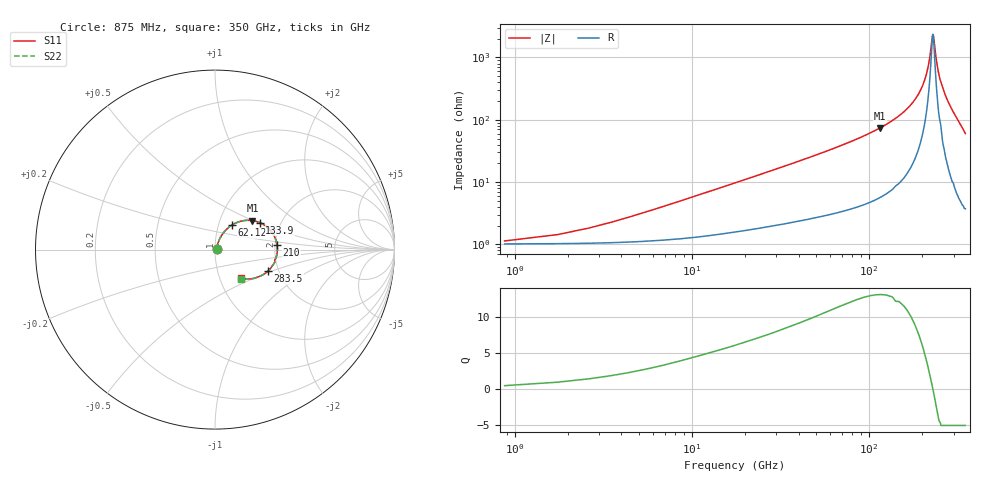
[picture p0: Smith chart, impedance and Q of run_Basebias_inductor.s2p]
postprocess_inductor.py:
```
#!/usr/bin/env python3

import argparse
from pathlib import Path

import numpy as np
import pandas as pd
import matplotlib.pyplot as plt
import skrf as rf

plt.style.use(Path(__file__).parent / "../python_postprocessing/own.mplstyle")


def dB(x):
    return 20 * np.log10(np.abs(x))


def main():

    parser = argparse.ArgumentParser(
        description="Postprocess a Touchstone .s2p file of an inductor."
    )

    parser.add_argument(
        "s2p",
        nargs="?",
        # default="/Users/matthi/IHP-PDK/sscs-ose-code-a-chip.github.io/ISSCC27/submitted_notebooks/end_to_end_openRF/ISSCS_60_GHz_MPA_prj/openEMS/output/run_VCC_snake_v6_data/run_VCC_snake_v6.s2p",
        default="/Users/matthi/IHP-PDK/sscs-ose-code-a-chip.github.io/ISSCC27/submitted_notebooks/end_to_end_openRF/ISSCS_60_GHz_MPA_prj/openEMS/output/run_Basebias_inductor_data/run_Basebias_inductor.s2p",
        help="Input Touchstone file (.s2p)"
    )

    parser.add_argument(
        "--target",
        type=float,
        default=60.0,
        help="Target frequency in GHz"
    )

    args = parser.parse_args()

    s2p_path = Path(args.s2p)

    if not s2p_path.exists():
        raise FileNotFoundError(s2p_path)

    print(f"Reading {s2p_path}")

    network = rf.Network(str(s2p_path))

    f = network.f
    s = network.s

    s11 = s[:, 0, 0]
    s21 = s[:, 1, 0]
    s12 = s[:, 0, 1]
    s22 = s[:, 1, 1]

    print(dB(s11[0]))

    # Convert S -> Z
    z = network.z

    z11 = z[:, 0, 0]
    z12 = z[:, 0, 1]
    z21 = z[:, 1, 0]
    z22 = z[:, 1, 1]

    omega = 2 * np.pi * f

    with np.errstate(divide="ignore", invalid="ignore"):
        zdiff = z11 - z12 - z21 + z22

        Ldiff = zdiff.imag / omega
        Rdiff = zdiff.real
        Qdiff = zdiff.imag / zdiff.real

    targetfreq = args.target * 1e9
    idx = np.argmax(f >= targetfreq)

    print(Ldiff[0])
    print(Ldiff[1])

    print("\nDifferential inductor parameters")
    print("--------------------------------")
    print(f"Frequency [GHz]: {f[idx]/1e9}")
    print(f"Series L  [nH] : {Ldiff[idx]*1e9}")
    print(f"Series R  [Ohm]: {Rdiff[idx]}")
    print(f"Q factor       : {Qdiff[idx]}")
    print("--------------------------------")
    print(f"L_DC      [nH] : {Ldiff[1]*1e9}")
    print(f"R_DC      [Ohm]: {Rdiff[0]}")
    print(f"Peak Q         : {np.nanmax(Qdiff)}")

    # ------------------------------------------------------------
    # Save CSV
    # ------------------------------------------------------------

    csv_file = s2p_path.with_name(s2p_path.stem + "_results.csv")
    print(s2p_path.stem + "_results.csv")

    df = pd.DataFrame({
        "Frequency (GHz)": f / 1e9,
        "Ldiff (nH)": Ldiff * 1e9,
        "Rdiff (Ohm)": Rdiff,
        "Qdiff": Qdiff,
        "S11 (dB)": dB(s11),
        "S21 (dB)": dB(s21),
        "S12 (dB)": dB(s12),
        "S22 (dB)": dB(s22),
    })

    df.to_csv(csv_file, index=False)

    print(f"\nResults written to {csv_file}")

    # ------------------------------------------------------------
    # Plots
    # ------------------------------------------------------------

    output_dir = s2p_path.parent

    plt.figure("Return Loss", figsize=(7, 4))
    plt.plot(f / 1e9, dB(s11), label="S11")
    plt.plot(f / 1e9, dB(s22), "--", label="S22")
    plt.grid(True)
    plt.xlabel("Frequency (GHz)")
    plt.ylabel("Magnitude (dB)")
    plt.title("Return Loss")
    plt.legend()
    plt.tight_layout()
    plt.savefig(output_dir / "return_loss.png", dpi=300)

    plt.figure("Insertion Loss", figsize=(7, 4))
    plt.plot(f / 1e9, dB(s21), label="S21")
    plt.plot(f / 1e9, dB(s12), "--", label="S12")
    plt.grid(True)
    plt.xlabel("Frequency (GHz)")
    plt.ylabel("Magnitude (dB)")
    plt.title("Insertion Loss")
    plt.legend()
    plt.tight_layout()
    plt.savefig(output_dir / "insertion_loss.png", dpi=300)

    plt.figure("Inductance", figsize=(7, 4))
    plt.plot(f / 1e9, Ldiff * 1e9)
    plt.grid(True)
    plt.xlabel("Frequency (GHz)")
    plt.ylabel("L (nH)")
    plt.title("Differential Inductance")
    plt.tight_layout()
    plt.savefig(output_dir / "inductance.png", dpi=300)

    plt.figure("Q Factor", figsize=(7, 4))
    plt.plot(f / 1e9, Qdiff)
    plt.grid(True)
    plt.xlabel("Frequency (GHz)")
    plt.ylabel("Q")
    plt.title("Differential Q Factor")
    plt.tight_layout()
    plt.savefig(output_dir / "q_factor.png", dpi=300)


    # ------------------------------------------------------------
    # Combined Inductance and Q-Factor Plot
    # ------------------------------------------------------------

    fig, ax1 = plt.subplots(
        num="Inductance and Q Factor",
        figsize=(7, 4)
    )

    frequency_ghz = f / 1e9

    # Find the frequency point closest to 60 GHz
    target_freq_ghz = 60.0
    idx_60ghz = np.argmin(np.abs(frequency_ghz - target_freq_ghz))

    L_60ghz = Ldiff[idx_60ghz] * 1e9
    Q_60ghz = Qdiff[idx_60ghz]
    actual_freq_ghz = frequency_ghz[idx_60ghz]

    # Left y-axis: Inductance
    line1, = ax1.plot(
        frequency_ghz,
        Ldiff * 1e9,
        label=f"Inductance ({L_60ghz:.3f} nH @ {actual_freq_ghz:.2f} GHz)",
    )

    ax1.set_xlabel("Frequency (GHz)")
    ax1.set_ylabel("Inductance (nH)")
    ax1.grid(True)

    # Right y-axis: Q-factor
    ax2 = ax1.twinx()

    line2, = ax2.plot(
        frequency_ghz,
        Qdiff,
        color='red',
        label=f"Q-factor ({Q_60ghz:.2f} @ {actual_freq_ghz:.2f} GHz)",
    )

    ax2.set_ylabel("Q-factor")

    # Combined legend for both y-axes
    ax1.legend(
        [line1, line2],
        [line1.get_label(), line2.get_label()],
        loc="best",
        framealpha=1.0,
    )

    ax1.set_title("Differential Inductance and Q-Factor")

    fig.tight_layout()
    fig.savefig(
        output_dir / "inductance_q_factor.png",
        dpi=300,
    )


    # plt.show()


if __name__ == "__main__":
    main()
```
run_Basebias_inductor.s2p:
#  Hz  S  RI  R  50
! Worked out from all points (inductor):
!   400 points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, 875 MHz to 350 GHz, reference 50 ohm
!   read as 1/Y11, port 2 shorted: L = 89.1 pH near 6.125 GHz
!   highest Q = 13.1 at 114.6 GHz (marker M1), where L = 101 pH
!   self-resonance near 229.5 GHz
!   S11 on the Smith chart (normalised r, x): 875 MHz: 1.02, +0.01; 62.12 GHz: 1.16, +0.33; 133.9 GHz: 1.56, +0.51; 210 GHz: 2.05, +0.13; 283.5 GHz: 1.76, -0.47; 350 GHz: 1.26, -0.42
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8.75e8  0.00998 0.00296  0.9898 -0.00692  0.9898 -0.00694  0.01 0.00293
8.75e9  0.014 0.0275  0.985 -0.0679  0.985 -0.0678  0.014 0.0276
1.925e10  0.0242 0.0558  0.9716 -0.1443  0.9717 -0.1443  0.0242 0.0559
3.5875e10  0.0467 0.0933  0.9394 -0.2579  0.9394 -0.2579  0.0466 0.0933
6.2125e10  0.0938 0.1366  0.864 -0.4208  0.8641 -0.4208  0.0939 0.1366
1.14625e11  0.2089 0.1617  0.644 -0.6783  0.644 -0.6783  0.2089 0.1618
1.33875e11  0.2495 0.1504  0.5471 -0.7484  0.5472 -0.7483  0.2495 0.1506
1.75875e11  0.3185 0.0943  0.3188 -0.8559  0.3188 -0.8559  0.3186 0.0947
2.1e11  0.3456 0.0275  0.1217 -0.8999  0.1217 -0.8999  0.3458 0.0279
2.835e11  0.2948 -0.1193  -0.3195 -0.8598  -0.3192 -0.8599  0.2958 -0.119
3.5e11  0.1459 -0.1603  -0.6995 -0.6297  -0.699 -0.6309  0.1471 -0.1615
